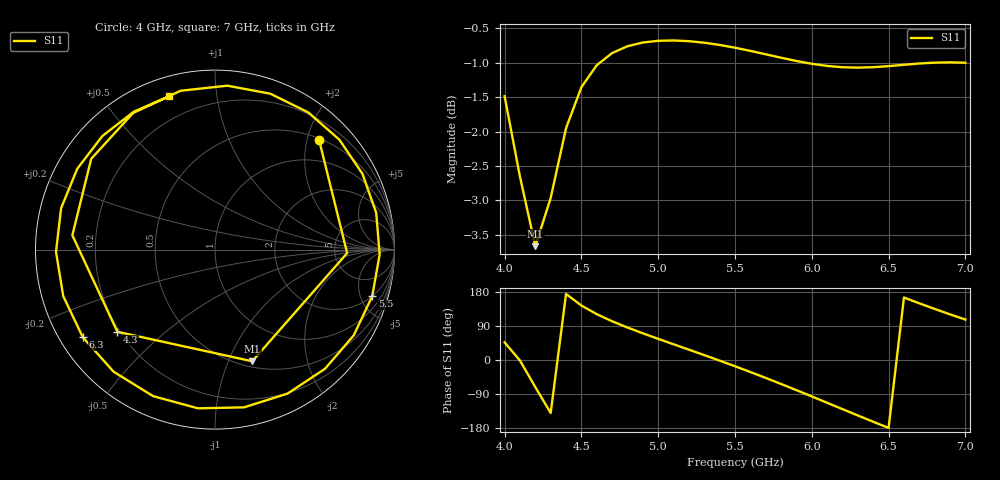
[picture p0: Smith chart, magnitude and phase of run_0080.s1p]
! Touchstone file exported from HFSS 2024.2.0
!  File:  C:/Users/wsak9/Desktop/Sim Fast/Widenad Patch/WP_AI_V1_sweep.aedt
!  Generated:  06:16:32 PM Oct 13, 2026
!  Design:  A1_model
!  Project:  WP_AI_V1_sweep
!  Setup:  Setup1
!  Solution:  Sweep
! Variables:
!  Air_gap = 3.49mm
!  Curve_Amp1 = 0.6
!  Curve_len1 = 1
!  Curve_pos = 13.41mm
!  Extra = 3.96mm
!  H_sub = 0.79mm
!  L_Patch = 22.82mm
!  L_Patch1 = 12.54mm
!  Sx = 1.27mm
!  Sy = 3.31mm
!  WS = 0.68mm
!  W_Patch = 12.43mm
!  W_Patch1 = 8.58mm
!Data is not renormalized
# GHz S MA
! Terminal data exported
! Port[1] = 1
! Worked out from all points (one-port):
!   31 points, 4 GHz to 7 GHz, reference per port
!   lowest |S11| = -3.7 dB at 4.2 GHz (marker M1), VSWR 4.81
!   |S11| at or under -10 dB: nowhere
!   S11 on the Smith chart (normalised r, x): 4 GHz: 0.53, +2.22; 4.3 GHz: 0.19, -0.35; 5.5 GHz: 2.00, -6.27; 6.3 GHz: 0.07, -0.30; 7 GHz: 0.09, +0.74
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4  0.8425 46.5
4.1  0.7366 -1.5
4.2  0.6559 -71.6
4.3  0.7109 -139.9
4.4  0.7987 174.3
4.5  0.8554 143.7
4.6  0.8874 121.0
4.7  0.9055 102.2
4.8  0.9159 85.7
4.9  0.9216 70.4
5  0.9242 55.8
5.2  0.9237 27.2
5.3  0.9213 12.9
5.4  0.9179 -1.7
5.5  0.9136 -16.5
5.6  0.9088 -31.7
5.7  0.9036 -47.3
5.8  0.8985 -63.3
5.9  0.8936 -79.6
6  0.8894 -96.2
6.1  0.8862 -112.9
6.3  0.8837 -146.4
6.4  0.8844 -163.0
6.5  0.8859 -179.2
6.6  0.8879 164.9
6.7  0.8898 149.6
6.9  0.8916 120.4
7  0.891 106.7
